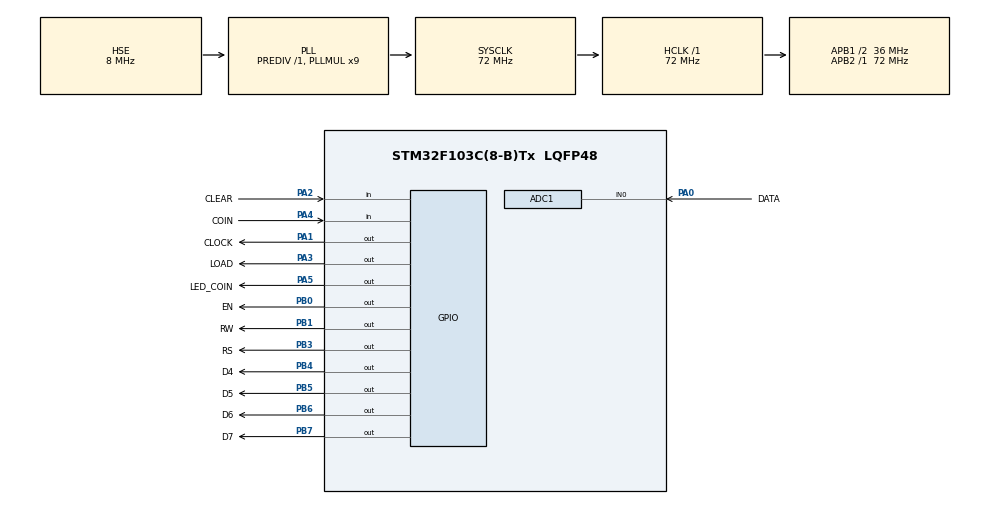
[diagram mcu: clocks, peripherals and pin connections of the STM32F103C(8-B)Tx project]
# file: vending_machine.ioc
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ADC1.Channel-0\#ChannelRegularConversion=ADC_CHANNEL_0
ADC1.ContinuousConvMode=ENABLE
ADC1.NbrOfConversionFlag=1
ADC1.Rank-0\#ChannelRegularConversion=1
ADC1.SamplingTime-0\#ChannelRegularConversion=ADC_SAMPLETIME_239CYCLES_5
ADC1.master=1
Mcu.Family=STM32F1
Mcu.Name=STM32F103C(8-B)Tx
Mcu.Package=LQFP48
NVIC.PriorityGroup=NVIC_PRIORITYGROUP_4
PA0-WKUP.GPIO_Label=DATA
PA0-WKUP.Signal=ADCx_IN0
PA1.GPIO_Label=CLOCK
PA1.Signal=GPIO_Output
PA13.Mode=Serial_Wire
PA13.Signal=SYS_JTMS-SWDIO
PA14.Mode=Serial_Wire
PA14.Signal=SYS_JTCK-SWCLK
PA2.GPIO_Label=CLEAR
PA2.GPIO_PuPd=GPIO_PULLUP
PA2.Signal=GPIO_Input
PA3.GPIO_Label=LOAD
PA3.Signal=GPIO_Output
PA4.GPIO_Label=COIN
PA4.GPIO_PuPd=GPIO_PULLUP
PA4.Signal=GPIO_Input
PA5.GPIO_Label=LED_COIN
PA5.Signal=GPIO_Output
PB0.GPIO_Label=EN
PB0.Signal=GPIO_Output
PB1.GPIO_Label=RW
PB1.Signal=GPIO_Output
PB3.GPIO_Label=RS
PB3.Signal=GPIO_Output
PB4.GPIO_Label=D4
PB4.Signal=GPIO_Output
PB5.GPIO_Label=D5
PB5.Signal=GPIO_Output
PB6.GPIO_Label=D6
PB6.Signal=GPIO_Output
PB7.GPIO_Label=D7
PB7.Signal=GPIO_Output
PD0-OSC_IN.Mode=HSE-External-Oscillator
PD0-OSC_IN.Signal=RCC_OSC_IN
PD1-OSC_OUT.Mode=HSE-External-Oscillator
PD1-OSC_OUT.Signal=RCC_OSC_OUT
ProjectManager.HeapSize=0x200
ProjectManager.StackSize=0x400
ProjectManager.TargetToolchain=MDK-ARM V5
RCC.ADCPresc=RCC_ADCPCLK2_DIV6
RCC.AHBFreq_Value=72000000
RCC.APB1CLKDivider=RCC_HCLK_DIV2
RCC.APB1Freq_Value=36000000
RCC.APB1TimFreq_Value=72000000
RCC.APB2Freq_Value=72000000
RCC.APB2TimFreq_Value=72000000
RCC.HCLKFreq_Value=72000000
RCC.PLLMUL=RCC_PLL_MUL9
RCC.PLLSourceVirtual=RCC_PLLSOURCE_HSE
RCC.SYSCLKFreq_VALUE=72000000
RCC.SYSCLKSource=RCC_SYSCLKSOURCE_PLLCLK
RCC.USBFreq_Value=72000000
SH.ADCx_IN0.0=ADC1_IN0,IN0
board=custom

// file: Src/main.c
#include "main.h"

ADC_HandleTypeDef hadc1;

unsigned char     nama_slot[6] = {0,0,0,0,0,0};		//         	<
unsigned char namatemp_slot[6] = {0,0,0,0,0,0};	  //           |
unsigned char    harga_slot[6] = {0,0,0,0,0,0};   //           |  data temp
unsigned char    aktif_slot[6] = {1,0,0,0,0,0};   //           |
unsigned char  minuman_slot[6] = {0,0,0,0,0,0};   //          <
unsigned char flag_push  = 0;
unsigned char flag_show  = 0;

int adcvalue;
int phase = 0;
int coin = 0;
int data_harga = 2;
int data_minuman = 0;
int data_slot = 0;

unsigned int preset_tombol;

void SystemClock_Config(void);
static void MX_GPIO_Init(void);
static void MX_ADC1_Init(void);

void h595shift(unsigned char data){
	for(unsigned char i = 0; i < 8; i++){
		if(data & 0x80){
			HAL_GPIO_WritePin(DATA_GPIO_Port,DATA_Pin,GPIO_PIN_SET);
		}
		else{
			HAL_GPIO_WritePin(DATA_GPIO_Port,DATA_Pin,GPIO_PIN_RESET);
		}
		HAL_GPIO_WritePin(CLOCK_GPIO_Port,CLOCK_Pin,GPIO_PIN_SET);
		HAL_GPIO_WritePin(CLOCK_GPIO_Port,CLOCK_Pin,GPIO_PIN_RESET);
		data = data << 1;
	}
	HAL_GPIO_WritePin(LOAD_GPIO_Port,LOAD_Pin,GPIO_PIN_SET);
	HAL_GPIO_WritePin(LOAD_GPIO_Port,LOAD_Pin,GPIO_PIN_RESET);
}

void lcd_en(){
	HAL_GPIO_WritePin(EN_GPIO_Port,EN_Pin,GPIO_PIN_SET);
	for(unsigned int i = 0; i <= 13000; i++){}
	HAL_GPIO_WritePin(EN_GPIO_Port,EN_Pin,GPIO_PIN_RESET);
	for(unsigned int i = 0; i <= 13000; i++){}
}

void lcd_command(unsigned char cmd){
	HAL_GPIO_WritePin(RW_GPIO_Port,RW_Pin,GPIO_PIN_RESET);
	HAL_GPIO_WritePin(RS_GPIO_Port,RS_Pin,GPIO_PIN_RESET);
	GPIOB->ODR &= 0x0f;
	GPIOB->ODR |= (cmd & 0xf0);
	lcd_en();
	GPIOB->ODR &= 0x0f;
	GPIOB->ODR |= (cmd << 4);
	lcd_en();
}

void lcd_char(unsigned char datachar){
	HAL_GPIO_WritePin(RW_GPIO_Port,RW_Pin,GPIO_PIN_RESET);
	HAL_GPIO_WritePin(RS_GPIO_Port,RS_Pin,GPIO_PIN_SET);
	GPIOB->ODR &= 0x0f;
	GPIOB->ODR |= (datachar & 0xf0);
	lcd_en();
	GPIOB->ODR &= 0x0f;
	GPIOB->ODR |= (datachar << 4);
	lcd_en();
}

void lcd_init(){
	lcd_command(0x02);
	lcd_command(0x28);
	lcd_command(0x0C);
	lcd_command(0x06);
	lcd_command(0x80);
}

void lcd_string(char *str){
	int i;
	for(i = 0; str[i] != 0; i++){
		lcd_char(str[i]);
	}
}

void lcd_xy(char x , char y){
	     if(x == 0 && y < 20) lcd_command((y & 0x0f) | 0x80);
	else if(x == 1 && y < 20) lcd_command((y & 0x0f) | 0xC0);
	else if(x == 2 && y < 20) lcd_command((y & 0x0f) | 0x94);
	else if(x == 3 && y < 20) lcd_command((y & 0x0f) | 0xD4);
}

void lcd_clear(){
	lcd_command(0x01);
	lcd_command(0x80);
}

void lcd_int(unsigned int dataint){
	char st[5] = "";
	sprintf(st,"%d",dataint);
	lcd_string(st);
}
void cektombol(){

	HAL_ADC_PollForConversion(&hadc1 , 100);
	adcvalue = HAL_ADC_GetValue(&hadc1);

			 if((adcvalue < 2000) & (adcvalue > 1800)){ preset_tombol = 1;} // up
	else if((adcvalue < 3100) & (adcvalue > 2900)){ preset_tombol = 2;} // down
	else if((adcvalue < 1000) & (adcvalue > 800 )){ preset_tombol = 3;} // right
	else if((adcvalue < 50  ) & (adcvalue >= 0  )){ preset_tombol = 4;} // left
	else if((adcvalue < 3700) & (adcvalue > 3400)){ preset_tombol = 5;} // ok
	else{preset_tombol = 0;}

}

void ubah_minuman(unsigned int data_minuman){
	lcd_xy(2,9);
	switch(data_minuman){
		case 0 : lcd_string("COCA COLA   "); break;
		case 1 : lcd_string("TEH BOTOL   "); break;
		case 2 : lcd_string("FANTA       "); break;
		case 3 : lcd_string("SPRITE      "); break;
		case 4 : lcd_string("COFFIE      "); break;
		case 5 : lcd_string("COCOLATE    "); break;
	}
}

void ubah_harga(unsigned int data_harga){
	lcd_xy(3,9);
	switch(data_harga){
		case 1 : lcd_string("RP.500      "); break;
		case 2 : lcd_string("RP.1,000    "); break;
		case 3 : lcd_string("RP.1,500    "); break;
		case 4 : lcd_string("RP.2,000    "); break;
		case 5 : lcd_string("RP.2,500    "); break;
		case 6 : lcd_string("RP.3,000    "); break;
		case 7 : lcd_string("RP.3,500    "); break;
		case 8 : lcd_string("RP.4,000    "); break;
		case 10 : lcd_string("RP.5,000   "); break;
		case 11 : lcd_string("RP.5,500   "); break;
		case 12 : lcd_string("RP.6,000   "); break;
		case 13 : lcd_string("RP.6,500   "); break;
		case 14 : lcd_string("RP.7,000   "); break;
		case 15 : lcd_string("RP.7,500   "); break;
		case 16 : lcd_string("RP.8,000   "); break;
		case 17 : lcd_string("RP.8,500   "); break;
		case 18 : lcd_string("RP.9,000   "); break;
		case 19 : lcd_string("RP.9,500   "); break;
		case 20 : lcd_string("RP.10,000  "); break;

	}
}

int main(void)
{
  HAL_Init();
  SystemClock_Config();
  MX_GPIO_Init();
  MX_ADC1_Init();

  lcd_init();
  lcd_clear();
  HAL_ADC_Start(&hadc1);

  HAL_GPIO_WritePin(CLEAR_GPIO_Port,CLEAR_Pin,GPIO_PIN_SET);

  lcd_xy(0,0); lcd_string("   SELAMAT DATANG   ");
  lcd_xy(1,0); lcd_string("Vending Machine 7640");
  lcd_xy(2,0); lcd_string(" LKS SMK Tahun 2019 ");
  lcd_xy(3,0); lcd_string("   NASIONAL JOGJA   ");
  HAL_Delay(5000);
  lcd_clear();

  while (1)
  {
    /* USER CODE END WHILE */

    /* USER CODE BEGIN 3 */
		HAL_GPIO_WritePin(CLEAR_GPIO_Port,CLEAR_Pin,GPIO_PIN_SET);
		for(unsigned char i = 0; i < 8; i++){
		HAL_GPIO_WritePin(DATA_GPIO_Port,DATA_Pin,GPIO_PIN_SET);
		HAL_GPIO_WritePin(CLOCK_GPIO_Port,CLOCK_Pin,GPIO_PIN_SET);
		HAL_Delay(1);
		HAL_GPIO_WritePin(CLOCK_GPIO_Port,CLOCK_Pin,GPIO_PIN_RESET);
		HAL_Delay(1);
	}
	HAL_GPIO_WritePin(LOAD_GPIO_Port,LOAD_Pin,GPIO_PIN_SET);
	HAL_Delay(1);
	HAL_GPIO_WritePin(LOAD_GPIO_Port,LOAD_Pin,GPIO_PIN_RESET);
	HAL_Delay(1);

	switch(phase){
  case 0 :
    lcd_xy(0,0); lcd_string("   SELAMAT DATANG   ");
    lcd_xy(1,0); lcd_string("Vending Machine 7640");
    lcd_xy(2,0); lcd_string(" LKS SMK Tahun 2019 ");
    lcd_xy(3,0); lcd_string("   NASIONAL JOGJA   ");
		cektombol();
    if((preset_tombol == 5) && (flag_push == 0)){
      phase += 1;
			lcd_clear();
    }
  break;

  case 1 :
    lcd_xy(0,0);
    lcd_string("    SETTING MODE    ");
    lcd_xy(2,2); lcd_string("Nama  :");
    lcd_xy(1,2); lcd_string("Slot  :");
    lcd_xy(3,2); lcd_string("Harga :");

		for(unsigned char i=0;i<6;i++){
      if(flag_show == 0){
        h595shift(minuman_slot[i],aktif_slot[i]);
      }
    }

		flag_show = 1;

    ubah_minuman(data_minuman);
    lcd_xy(1,9); lcd_int(data_slot+1);
    lcd_xy(3,9); lcd_int(data_harga*500);

    cektombol();

    if((preset_tombol == 1) && (flag_push == 0)){
      if(data_harga >= 18){data_harga = 18;}
      else{ data_harga += 1;}
      flag_push = 1;
    }
    else if((preset_tombol == 2) && (flag_push == 0)){
      if(data_harga <= 2){data_harga = 2;}
      else{ data_harga -= 1;}
      flag_push = 1;
    }
    else if((preset_tombol == 3) && (flag_push == 0)){
      if(data_minuman >= 5){data_minuman = 5;}
      else{ data_minuman += 1;}
      flag_push = 1;
    }
    else if((preset_tombol == 4) && (flag_push == 0)){
      if(data_minuman <= 0){data_minuman = 0;}
      else{ data_minuman -= 1;}
      flag_push = 1;
    }
    else if((preset_tombol == 5) && (flag_push == 0)){
      if(namatemp_slot[data_minuman] == 0){			// jika nama belum terpakai
        nama_slot[data_slot] = data_minuman;		// mengisi data nama ke variabel nama_slot
        namatemp_slot[data_minuman] = 1;				// beri tanda pada data_temp nama
        harga_slot[data_slot] = data_harga;			// mengisi data harga ke variabel harga_slot
        lcd_clear();
        lcd_xy(1,0); lcd_string("    PROCCESSSING    "); HAL_Delay(500);
        lcd_xy(1,0); lcd_string("      OK  DONE      "); HAL_Delay(1000);
        lcd_clear();
        if(data_slot >= 5){
					phase += 1;
					data_slot = 0;
					for(unsigned char i=0;i<6;i++){
						aktif_slot[i] = 0;
					}
					aktif_slot[0] = 1;
				}
        else {data_slot += 1; aktif_slot[data_slot] = 1; aktif_slot[data_slot-1] = 0;}
				//                     aktifkan index slot      matikan index slot sebelumnya
      }
      else{
        lcd_clear();
        lcd_xy(1,0); lcd_string("    PROCCESSSING    "); HAL_Delay(500);
        lcd_xy(1,0); lcd_string("       ERROR        ");
        lcd_xy(2,0); lcd_string("Nama Sudah Terpakai "); HAL_Delay(2000);
        lcd_clear();
      }
      flag_push = 1;
			flag_show = 0;
    }
    else if(preset_tombol == 0){
      flag_push = 0;
    }
  break;

  case 2 :
    lcd_xy(0,0);
    lcd_string("    FILLING MODE    ");
    lcd_xy(2,1); lcd_string("Nama  :");
    lcd_xy(1,1); lcd_string("Slot  :");
    lcd_xy(3,1); lcd_string("Jumlah:");

    for(unsigned char i=0;i<6;i++){
      if(flag_show == 0){
        h595shift(minuman_slot[i],aktif_slot[i]);
      }
    }

    flag_show = 1;

    ubah_minuman(nama_slot[data_slot]);
    lcd_xy(1,9); lcd_int(data_slot+1);
    lcd_xy(3,9); lcd_int(minuman_slot[data_slot]);

    cektombol();

    if((preset_tombol == 1) && (flag_push == 0)){
        if(minuman_slot[data_slot] >= 7){ minuman_slot[data_slot] = 7; }
      else{ minuman_slot[data_slot] += 1; }
      flag_show = 0;
      flag_push = 1;
    }
    else if((preset_tombol == 2) && (flag_push == 0)){
        if(minuman_slot[data_slot] <= 0){ minuman_slot[data_slot] = 0; }
      else{ minuman_slot[data_slot] -= 1; }
      flag_show = 0;
      flag_push = 1;
    }
    else if((preset_tombol == 5) && (flag_push == 0)){
      lcd_clear();
      lcd_xy(1,0); lcd_string("    PROCCESSSING    "); HAL_Delay(500);
      lcd_xy(1,0); lcd_string("      OK  DONE      "); HAL_Delay(1000);
      lcd_clear();
      if(data_slot >= 5){ phase += 1; }
      else {data_slot += 1; aktif_slot[data_slot] = 1; aktif_slot[data_slot-1] = 0;}
      flag_show = 0;
      flag_push = 1;
    }
    else if(preset_tombol == 0){
      flag_push = 0;
    }
  break;

  case 3 :
    lcd_xy(0,0);
    lcd_string("    RUNNING MODE    ");
    lcd_xy(1,0); lcd_string("   Masukkan  Coin   ");
    lcd_xy(2,0); lcd_string("      Rp");
    lcd_xy(2,13); lcd_int(coin*500);

		if(flag_show == 0){
      for(unsigned char i=0;i<6;i++){
        h595shift(minuman_slot[i],aktif_slot[i]);
      }
      flag_show = 1;
    }

    cektombol();

    if((preset_tombol == 5) && (flag_push == 0)){
      if(coin >= 2){
        phase += 1;
				data_slot = 0;
				for(unsigned char i=0;i<6;i++){
					aktif_slot[i] = 0;
				}
				aktif_slot[0] = 1;
				lcd_clear();
      }
      flag_push = 1;
			flag_show = 0;
    }

    else if(HAL_GPIO_ReadPin(COIN_GPIO_Port,COIN_Pin) == 0){
      HAL_GPIO_WritePin(LED_COIN_GPIO_Port,LED_COIN_Pin,GPIO_PIN_RESET);
      if(flag_push == 0){
        coin += 1;
        flag_push = 1;
      }
    }
    else if((HAL_GPIO_ReadPin(COIN_GPIO_Port,COIN_Pin) == 1) && (preset_tombol == 0)){
      HAL_GPIO_WritePin(LED_COIN_GPIO_Port,LED_COIN_Pin,GPIO_PIN_SET);
      flag_push = 0;
    }
  break;

  case 4 :
    HAL_GPIO_WritePin(LED_COIN_GPIO_Port,LED_COIN_Pin,GPIO_PIN_SET);
    HAL_GPIO_WritePin(LED_TAKE_GPIO_Port,LED_TAKE_Pin,GPIO_PIN_SET);

    lcd_xy(0,0);
    lcd_string("    RUNNING MODE    ");
    lcd_xy(1,1); lcd_string("Slot  :");
    lcd_xy(2,1); lcd_string("Nama  :");
    lcd_xy(3,1); lcd_string("Harga :");

    ubah_minuman(nama_slot[data_slot]);
    ubah_harga(harga_slot[data_slot]);
    lcd_xy(1,9); lcd_int(data_slot+1);

    if(flag_show == 0){
      for(unsigned char i=0;i<6;i++){
        h595shift(minuman_slot[i],aktif_slot[i]);
      }
      flag_show = 1;
    }

    cektombol();

    if((preset_tombol == 3) && (flag_push == 0)){
      if(data_slot >= 5){ data_slot = 0; aktif_slot[0] = 1; aktif_slot[5] = 0;}
      else{
        data_slot += 1; aktif_slot[data_slot] = 1; aktif_slot[data_slot-1] = 0;
        flag_push = 1;
      }
      flag_show = 0;
    }
    else if((preset_tombol == 4) && (flag_push == 0)){
      if(data_slot <= 0){ data_slot = 5; aktif_slot[5] = 1; aktif_slot[0] = 0;}
      else{
        data_slot -= 1; aktif_slot[data_slot] = 1; aktif_slot[data_slot+1] = 0;
        flag_push = 1;
      }
      flag_show = 0;
    }
		else if(HAL_GPIO_ReadPin(COIN_GPIO_Port,COIN_Pin) == 0){
      coin = 0;
			lcd_clear();
      flag_show = 0;
			phase = 3;
    }
    else if(HAL_GPIO_ReadPin(TAKE_GPIO_Port,TAKE_Pin) == 0){
      HAL_GPIO_WritePin(LED_TAKE_GPIO_Port,LED_TAKE_Pin,GPIO_PIN_RESET);
      lcd_clear();
      lcd_xy(1,0); lcd_string("    PROCCESSING     ");
      HAL_Delay(2000);
      if(coin >= harga_slot[data_slot]){
				if(minuman_slot[data_slot] == 0){
					lcd_xy(1,0); lcd_string("       ERROR!       ");
					lcd_xy(2,0); lcd_string("   Minuman Habis    ");
					HAL_Delay(2000);
					lcd_xy(2,0); lcd_string(" Pilih Minuman Lain ");
					HAL_Delay(2000);
					phase = 4;
					for(unsigned char i=0;i<6;i++){
					aktif_slot[i] = 0;
					}
					aktif_slot[0] = 1;
					data_slot = 0;
				}
				else{
					lcd_xy(1,0); lcd_string("       SUKSES       ");
					minuman_slot[data_slot] -= 1;
					HAL_Delay(1000);
					if((coin - harga_slot[data_slot]) > 0){
						lcd_xy(2,0); lcd_string("Ambil Uang Kembalian");
						HAL_Delay(3000);
					}
					else{
						lcd_xy(2,0); lcd_string("   Uang Anda Pas    ");
						HAL_Delay(3000);
					}
					lcd_xy(1,0); lcd_string("    TERIMA KASIH    ");
					lcd_xy(2,0); lcd_string("  Sudah Berbelanja  ");
					HAL_Delay(2000);
					coin = 0;
					phase = 3;
				}
			}
      else{
        lcd_xy(1,0); lcd_string("       ERROR!       ");
        lcd_xy(2,0); lcd_string("  Uang Anda Kurang  ");
        HAL_Delay(2000);
        lcd_xy(2,0); lcd_string(" Pilih Minuman Lain ");
        HAL_Delay(2000);
				phase = 4;
				for(unsigned char i=0;i<6;i++){
					aktif_slot[i] = 0;
				}
				aktif_slot[0] = 1;
			}
			flag_show = 0;
			data_slot = 0;
      lcd_clear();
    }
    else if(preset_tombol == 0){
      flag_push = 0;
    }
  break;
}

	}
  /* USER CODE END 3 */
}

void SystemClock_Config(void)
{
  RCC_OscInitTypeDef RCC_OscInitStruct = {0};
  RCC_ClkInitTypeDef RCC_ClkInitStruct = {0};
  RCC_PeriphCLKInitTypeDef PeriphClkInit = {0};

  /**Initializes the CPU, AHB and APB busses clocks
  */
  RCC_OscInitStruct.OscillatorType = RCC_OSCILLATORTYPE_HSE;
  RCC_OscInitStruct.HSEState = RCC_HSE_ON;
  RCC_OscInitStruct.HSEPredivValue = RCC_HSE_PREDIV_DIV1;
  RCC_OscInitStruct.HSIState = RCC_HSI_ON;
  RCC_OscInitStruct.PLL.PLLState = RCC_PLL_ON;
  RCC_OscInitStruct.PLL.PLLSource = RCC_PLLSOURCE_HSE;
  RCC_OscInitStruct.PLL.PLLMUL = RCC_PLL_MUL9;
  if (HAL_RCC_OscConfig(&RCC_OscInitStruct) != HAL_OK)
  {
    Error_Handler();
  }
  /**Initializes the CPU, AHB and APB busses clocks
  */
  RCC_ClkInitStruct.ClockType = RCC_CLOCKTYPE_HCLK|RCC_CLOCKTYPE_SYSCLK
                              |RCC_CLOCKTYPE_PCLK1|RCC_CLOCKTYPE_PCLK2;
  RCC_ClkInitStruct.SYSCLKSource = RCC_SYSCLKSOURCE_PLLCLK;
  RCC_ClkInitStruct.AHBCLKDivider = RCC_SYSCLK_DIV1;
  RCC_ClkInitStruct.APB1CLKDivider = RCC_HCLK_DIV2;
  RCC_ClkInitStruct.APB2CLKDivider = RCC_HCLK_DIV1;

  if (HAL_RCC_ClockConfig(&RCC_ClkInitStruct, FLASH_LATENCY_2) != HAL_OK)
  {
    Error_Handler();
  }
  PeriphClkInit.PeriphClockSelection = RCC_PERIPHCLK_ADC;
  PeriphClkInit.AdcClockSelection = RCC_ADCPCLK2_DIV6;
  if (HAL_RCCEx_PeriphCLKConfig(&PeriphClkInit) != HAL_OK)
  {
    Error_Handler();
  }
}

static void MX_ADC1_Init(void)
{

  ADC_ChannelConfTypeDef sConfig = {0};

  /**Common config
  */
  hadc1.Instance = ADC1;
  hadc1.Init.ScanConvMode = ADC_SCAN_DISABLE;
  hadc1.Init.ContinuousConvMode = ENABLE;
  hadc1.Init.DiscontinuousConvMode = DISABLE;
  hadc1.Init.ExternalTrigConv = ADC_SOFTWARE_START;
  hadc1.Init.DataAlign = ADC_DATAALIGN_RIGHT;
  hadc1.Init.NbrOfConversion = 1;
  if (HAL_ADC_Init(&hadc1) != HAL_OK)
  {
    Error_Handler();
  }
  /**Configure Regular Channel
  */
  sConfig.Channel = ADC_CHANNEL_0;
  sConfig.Rank = ADC_REGULAR_RANK_1;
  sConfig.SamplingTime = ADC_SAMPLETIME_239CYCLES_5;
  if (HAL_ADC_ConfigChannel(&hadc1, &sConfig) != HAL_OK)
  {
    Error_Handler();
  }

}

static void MX_GPIO_Init(void)
{
  GPIO_InitTypeDef GPIO_InitStruct = {0};

  /* GPIO Ports Clock Enable */
  __HAL_RCC_GPIOD_CLK_ENABLE();
  __HAL_RCC_GPIOA_CLK_ENABLE();
  __HAL_RCC_GPIOB_CLK_ENABLE();

  /*Configure GPIO pin Output Level */
  HAL_GPIO_WritePin(GPIOA, CLOCK_Pin|LOAD_Pin|LED_COIN_Pin, GPIO_PIN_RESET);

  /*Configure GPIO pin Output Level */
  HAL_GPIO_WritePin(GPIOB, EN_Pin|RW_Pin|RS_Pin|D4_Pin
                          |D5_Pin|D6_Pin|D7_Pin, GPIO_PIN_RESET);

  /*Configure GPIO pins : CLOCK_Pin LOAD_Pin LED_COIN_Pin */
  GPIO_InitStruct.Pin = CLOCK_Pin|LOAD_Pin|LED_COIN_Pin;
  GPIO_InitStruct.Mode = GPIO_MODE_OUTPUT_PP;
  GPIO_InitStruct.Pull = GPIO_NOPULL;
  GPIO_InitStruct.Speed = GPIO_SPEED_FREQ_LOW;
  HAL_GPIO_Init(GPIOA, &GPIO_InitStruct);

  /*Configure GPIO pins : CLEAR_Pin COIN_Pin */
  GPIO_InitStruct.Pin = CLEAR_Pin|COIN_Pin;
  GPIO_InitStruct.Mode = GPIO_MODE_INPUT;
  GPIO_InitStruct.Pull = GPIO_PULLUP;
  HAL_GPIO_Init(GPIOA, &GPIO_InitStruct);

  /*Configure GPIO pins : EN_Pin RW_Pin RS_Pin D4_Pin
                           D5_Pin D6_Pin D7_Pin */
  GPIO_InitStruct.Pin = EN_Pin|RW_Pin|RS_Pin|D4_Pin
                          |D5_Pin|D6_Pin|D7_Pin;
  GPIO_InitStruct.Mode = GPIO_MODE_OUTPUT_PP;
  GPIO_InitStruct.Pull = GPIO_NOPULL;
  GPIO_InitStruct.Speed = GPIO_SPEED_FREQ_LOW;
  HAL_GPIO_Init(GPIOB, &GPIO_InitStruct);

}

void Error_Handler(void)
{
}

/************************ (C) COPYRIGHT STMicroelectronics *****END OF FILE****/
